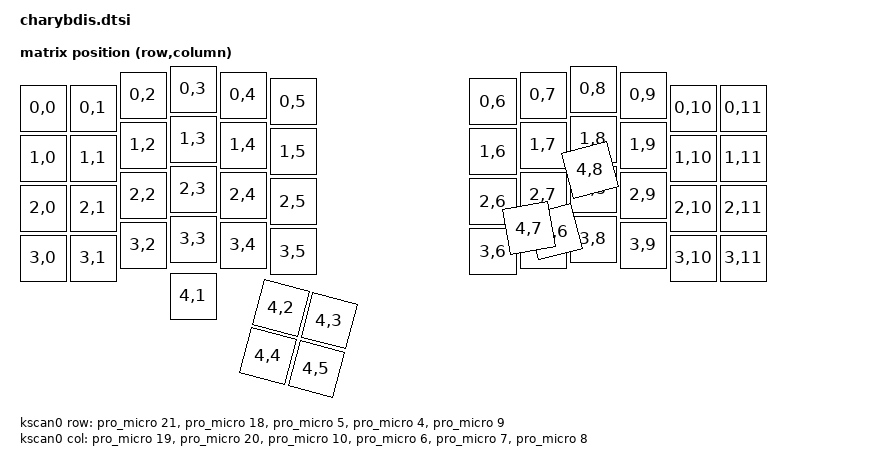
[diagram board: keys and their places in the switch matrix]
#include <dt-bindings/zmk/matrix_transform.h>
#include <physical_layouts.dtsi>


/ {
    chosen {
        zmk,physical-layout = &charybdis_physical_layout;
    }; 

    vbatt: vbatt {
	compatible = "zmk,battery-nrf-vddh";
    };
    
        charybdis_physical_layout: charybdis_physical_layout {
        compatible = "zmk,physical-layout";
        display-name = "Default";
        transform = <&default_transform>;
        kscan = <&kscan0>;
        keys  //                     w   h    x    y     rot    rx    ry
            = <&key_physical_attrs 100 100    0   38       0     0     0>
            , <&key_physical_attrs 100 100  100   38       0     0     0>
            , <&key_physical_attrs 100 100  200   12       0     0     0>
            , <&key_physical_attrs 100 100  300    0       0     0     0>
            , <&key_physical_attrs 100 100  400   12       0     0     0>
            , <&key_physical_attrs 100 100  500   25       0     0     0>
            , <&key_physical_attrs 100 100  900   25       0     0     0>
            , <&key_physical_attrs 100 100 1000   12       0     0     0>
            , <&key_physical_attrs 100 100 1100    0       0     0     0>
            , <&key_physical_attrs 100 100 1200   12       0     0     0>
            , <&key_physical_attrs 100 100 1300   38       0     0     0>
            , <&key_physical_attrs 100 100 1400   38       0     0     0>
            , <&key_physical_attrs 100 100    0  138       0     0     0>
            , <&key_physical_attrs 100 100  100  138       0     0     0>
            , <&key_physical_attrs 100 100  200  112       0     0     0>
            , <&key_physical_attrs 100 100  300  100       0     0     0>
            , <&key_physical_attrs 100 100  400  112       0     0     0>
            , <&key_physical_attrs 100 100  500  125       0     0     0>
            , <&key_physical_attrs 100 100  900  125       0     0     0>
            , <&key_physical_attrs 100 100 1000  112       0     0     0>
            , <&key_physical_attrs 100 100 1100  100       0     0     0>
            , <&key_physical_attrs 100 100 1200  112       0     0     0>
            , <&key_physical_attrs 100 100 1300  138       0     0     0>
            , <&key_physical_attrs 100 100 1400  138       0     0     0>
            , <&key_physical_attrs 100 100    0  238       0     0     0>
            , <&key_physical_attrs 100 100  100  238       0     0     0>
            , <&key_physical_attrs 100 100  200  212       0     0     0>
            , <&key_physical_attrs 100 100  300  200       0     0     0>
            , <&key_physical_attrs 100 100  400  212       0     0     0>
            , <&key_physical_attrs 100 100  500  225       0     0     0>
            , <&key_physical_attrs 100 100  900  225       0     0     0>
            , <&key_physical_attrs 100 100 1000  212       0     0     0>
            , <&key_physical_attrs 100 100 1100  200       0     0     0>
            , <&key_physical_attrs 100 100 1200  212       0     0     0>
            , <&key_physical_attrs 100 100 1300  238       0     0     0>
            , <&key_physical_attrs 100 100 1400  238       0     0     0>
            , <&key_physical_attrs 100 100    0  338       0     0     0>
            , <&key_physical_attrs 100 100  100  338       0     0     0>
            , <&key_physical_attrs 100 100  200  312       0     0     0>
            , <&key_physical_attrs 100 100  300  300       0     0     0>
            , <&key_physical_attrs 100 100  400  312       0     0     0>
            , <&key_physical_attrs 100 100  500  325       0     0     0>
            , <&key_physical_attrs 100 100  900  325       0     0     0>
            , <&key_physical_attrs 100 100 1000  312       0     0     0>
            , <&key_physical_attrs 100 100 1100  300       0     0     0>
            , <&key_physical_attrs 100 100 1200  312       0     0     0>
            , <&key_physical_attrs 100 100 1300  338       0     0     0>
            , <&key_physical_attrs 100 100 1400  338       0     0     0>
            , <&key_physical_attrs 100 100  300  414       0     0     0>
            , <&key_physical_attrs 100 100  400  414    1500   398   764>
            , <&key_physical_attrs 100 100  500  414    1500   398   764>
            , <&key_physical_attrs 100 100  400  514    1500   398   764>
            , <&key_physical_attrs 100 100  500  514    1500   398   764>
            , <&key_physical_attrs 100 100  900  552 (-1500)     0     0>
            , <&key_physical_attrs 100 100  900  451 (-1000)     0     0>
            , <&key_physical_attrs 100 100 1000  451 (-1500)     0     0>
            ;
    };
    
    
          
    default_transform: keymap_transform_0 {
        compatible = "zmk,matrix-transform";
        columns = <12>;
        rows = <5>;

        map = <
	RC(0,0) RC(0,1) RC(0,2) RC(0,3) RC(0,4) RC(0,5)  RC(0,6) RC(0,7) RC(0,8) RC(0,9) RC(0,10) RC(0,11)
	RC(1,0) RC(1,1) RC(1,2) RC(1,3) RC(1,4) RC(1,5)  RC(1,6) RC(1,7) RC(1,8) RC(1,9) RC(1,10) RC(1,11)
	RC(2,0) RC(2,1) RC(2,2) RC(2,3) RC(2,4) RC(2,5)  RC(2,6) RC(2,7) RC(2,8) RC(2,9) RC(2,10) RC(2,11)
	RC(3,0) RC(3,1) RC(3,2) RC(3,3) RC(3,4) RC(3,5)  RC(3,6) RC(3,7) RC(3,8) RC(3,9) RC(3,10) RC(3,11)
		RC(4,1) RC(4,2) RC(4,3) RC(4,4) RC(4,5)  RC(4,6) RC(4,7) RC(4,8)
        >;
    };


    kscan0: kscan {
        compatible = "zmk,kscan-gpio-matrix";
        label = "KSCAN";

        diode-direction = "row2col";
		row-gpios
			= <&pro_micro 21 (GPIO_ACTIVE_HIGH)>
			, <&pro_micro 18 (GPIO_ACTIVE_HIGH)>
			, <&pro_micro 5 (GPIO_ACTIVE_HIGH)>
			, <&pro_micro 4 (GPIO_ACTIVE_HIGH)>
			, <&pro_micro 9 (GPIO_ACTIVE_HIGH)>
            ;
	    col-gpios
		= <&pro_micro 19 (GPIO_ACTIVE_HIGH | GPIO_PULL_DOWN)>
		, <&pro_micro 20 (GPIO_ACTIVE_HIGH | GPIO_PULL_DOWN)>
		, <&pro_micro 10 (GPIO_ACTIVE_HIGH | GPIO_PULL_DOWN)>
		, <&pro_micro 6 (GPIO_ACTIVE_HIGH | GPIO_PULL_DOWN)>
		, <&pro_micro 7 (GPIO_ACTIVE_HIGH | GPIO_PULL_DOWN)>
		, <&pro_micro 8 (GPIO_ACTIVE_HIGH | GPIO_PULL_DOWN)>
		;
    };
};
